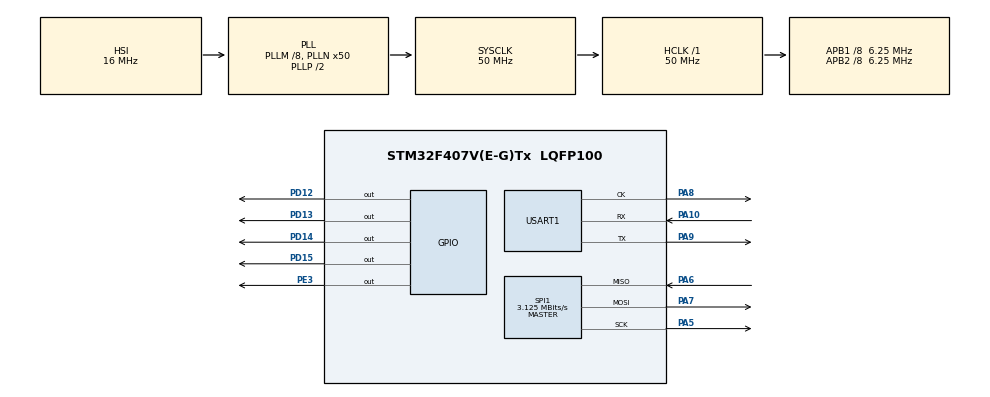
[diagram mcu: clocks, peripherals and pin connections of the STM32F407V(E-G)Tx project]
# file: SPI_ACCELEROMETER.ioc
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Mcu.Family=STM32F4
Mcu.Name=STM32F407V(E-G)Tx
Mcu.Package=LQFP100
NVIC.PriorityGroup=NVIC_PRIORITYGROUP_0
NVIC.SPI1_IRQn=true\:0\:0\:false\:false\:true\:true\:true\:true
PA10.Mode=Synchronous
PA10.Signal=USART1_RX
PA5.Mode=Full_Duplex_Master
PA5.Signal=SPI1_SCK
PA6.Mode=Full_Duplex_Master
PA6.Signal=SPI1_MISO
PA7.Mode=Full_Duplex_Master
PA7.Signal=SPI1_MOSI
PA8.Mode=Synchronous
PA8.Signal=USART1_CK
PA9.Mode=Synchronous
PA9.Signal=USART1_TX
PD12.Signal=GPIO_Output
PD13.Signal=GPIO_Output
PD14.Signal=GPIO_Output
PD15.Signal=GPIO_Output
PE3.Signal=GPIO_Output
ProjectManager.HeapSize=0x200
ProjectManager.StackSize=0x400
ProjectManager.TargetToolchain=STM32CubeIDE
RCC.48MHZClocksFreq_Value=14285714.285714285
RCC.AHBFreq_Value=50000000
RCC.APB1CLKDivider=RCC_HCLK_DIV8
RCC.APB1Freq_Value=6250000
RCC.APB1TimFreq_Value=12500000
RCC.APB2CLKDivider=RCC_HCLK_DIV8
RCC.APB2Freq_Value=6250000
RCC.APB2TimFreq_Value=12500000
RCC.CortexFreq_Value=50000000
RCC.HCLKFreq_Value=50000000
RCC.HSE_VALUE=8000000
RCC.HSI_VALUE=16000000
RCC.LSE_VALUE=32768
RCC.PLLM=8
RCC.PLLN=50
RCC.PLLQ=7
RCC.SYSCLKFreq_VALUE=50000000
RCC.SYSCLKSource=RCC_SYSCLKSOURCE_PLLCLK
RCC.VCOOutputFreq_Value=100000000
SPI1.BaudRatePrescaler=SPI_BAUDRATEPRESCALER_2
SPI1.CalculateBaudRate=3.125 MBits/s
SPI1.Direction=SPI_DIRECTION_2LINES
SPI1.Mode=SPI_MODE_MASTER
SPI1.VirtualType=VM_MASTER
USART1.CLKPhase=USART_PHASE_1EDGE
USART1.VirtualMode=VM_SYNC
board=STM32F407G-DISC1

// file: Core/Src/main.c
/* USER CODE BEGIN Header */
/**
  ******************************************************************************
  * @file           : main.c
  * @brief          : Main program body
  ******************************************************************************
  * @attention
  *
  * Copyright (c) 2025 STMicroelectronics.
  * All rights reserved.
  *
  * This software is licensed under terms that can be found in the LICENSE file
  * in the root directory of this software component.
  * If no LICENSE file comes with this software, it is provided AS-IS.
  *
  ******************************************************************************
  */
/* USER CODE END Header */
#include "main.h"

SPI_HandleTypeDef hspi1;

USART_HandleTypeDef husart1;

void SystemClock_Config(void);
static void MX_GPIO_Init(void);
static void MX_SPI1_Init(void);
static void MX_USART1_Init(void);

/* USER CODE BEGIN 0 */
uint8_t spiTxData[2];

uint8_t spiRxData[6];
int16_t accel_x;
int16_t accel_y;
int16_t accel_z;
float accelx;
float accely;
float accelz;
/* USER CODE END 0 */

int main(void)
{

  /* MCU Configuration--------------------------------------------------------*/

  /* Reset of all peripherals, Initializes the Flash interface and the Systick. */
  HAL_Init();

  /* Configure the system clock */
  SystemClock_Config();

  /* Initialize all configured peripherals */
  MX_GPIO_Init();
  MX_SPI1_Init();
  MX_USART1_Init();
  /* USER CODE BEGIN 2 */
  HAL_GPIO_WritePin (GPIOE, GPIO_PIN_3, GPIO_PIN_RESET);
  spiTxData[0]=0x20;//control register adress and write bit
  spiTxData[1]=0x77;//config data
  HAL_SPI_Transmit(&hspi1, spiTxData,2,100);//send config data
  HAL_GPIO_WritePin (GPIOE, GPIO_PIN_3, GPIO_PIN_SET);
  spiTxData[0]=0xA8;//adress of reg to read from
  //spiTxData[0]=0;
  /* USER CODE END 2 */

  /* Infinite loop */
  while (1)
  {

    /* USER CODE BEGIN 3 */
	  HAL_GPIO_WritePin (GPIOE, GPIO_PIN_3, GPIO_PIN_RESET);
	  HAL_SPI_Transmit(&hspi1,spiTxData, 1,  100);
	  HAL_SPI_Receive(&hspi1,spiRxData,6, 100);
	  HAL_GPIO_WritePin (GPIOE, GPIO_PIN_3, GPIO_PIN_SET);
	  accel_x=(int16_t)(spiRxData[0]<<8|spiRxData[1]);
	  accel_y=(int16_t)(spiRxData[2]<<8|spiRxData[3]);
	  accel_z=(int16_t)(spiRxData[4]<<8|spiRxData[5]);
	  accelx=(float)(accel_x/16384.0);
	  accely=(float)(accel_y/16384.0);
	  accelz=(float)(accel_z/16384.0);
      if(accelx>=0){
    	 HAL_GPIO_WritePin(GPIOD,GPIO_PIN_14,1);
    	 HAL_GPIO_WritePin(GPIOD,GPIO_PIN_12,0);
      }
      else{
     	 HAL_GPIO_WritePin(GPIOD,GPIO_PIN_14,0);
     	 HAL_GPIO_WritePin(GPIOD,GPIO_PIN_12,1);
      }

      if(accely>=0){
     	 HAL_GPIO_WritePin(GPIOD,GPIO_PIN_13,1);
     	 HAL_GPIO_WritePin(GPIOD,GPIO_PIN_15,0);
       }
       else{
      	 HAL_GPIO_WritePin(GPIOD,GPIO_PIN_13,0);
      	 HAL_GPIO_WritePin(GPIOD,GPIO_PIN_15,1);
       }
      HAL_Delay(500);
  }
  /* USER CODE END 3 */
}

void SystemClock_Config(void)
{
  RCC_OscInitTypeDef RCC_OscInitStruct = {0};
  RCC_ClkInitTypeDef RCC_ClkInitStruct = {0};

  /** Configure the main internal regulator output voltage
  */
  __HAL_RCC_PWR_CLK_ENABLE();
  __HAL_PWR_VOLTAGESCALING_CONFIG(PWR_REGULATOR_VOLTAGE_SCALE1);

  /** Initializes the RCC Oscillators according to the specified parameters
  * in the RCC_OscInitTypeDef structure.
  */
  RCC_OscInitStruct.OscillatorType = RCC_OSCILLATORTYPE_HSI;
  RCC_OscInitStruct.HSIState = RCC_HSI_ON;
  RCC_OscInitStruct.HSICalibrationValue = RCC_HSICALIBRATION_DEFAULT;
  RCC_OscInitStruct.PLL.PLLState = RCC_PLL_ON;
  RCC_OscInitStruct.PLL.PLLSource = RCC_PLLSOURCE_HSI;
  RCC_OscInitStruct.PLL.PLLM = 8;
  RCC_OscInitStruct.PLL.PLLN = 50;
  RCC_OscInitStruct.PLL.PLLP = RCC_PLLP_DIV2;
  RCC_OscInitStruct.PLL.PLLQ = 7;
  if (HAL_RCC_OscConfig(&RCC_OscInitStruct) != HAL_OK)
  {
    Error_Handler();
  }

  /** Initializes the CPU, AHB and APB buses clocks
  */
  RCC_ClkInitStruct.ClockType = RCC_CLOCKTYPE_HCLK|RCC_CLOCKTYPE_SYSCLK
                              |RCC_CLOCKTYPE_PCLK1|RCC_CLOCKTYPE_PCLK2;
  RCC_ClkInitStruct.SYSCLKSource = RCC_SYSCLKSOURCE_PLLCLK;
  RCC_ClkInitStruct.AHBCLKDivider = RCC_SYSCLK_DIV1;
  RCC_ClkInitStruct.APB1CLKDivider = RCC_HCLK_DIV8;
  RCC_ClkInitStruct.APB2CLKDivider = RCC_HCLK_DIV8;

  if (HAL_RCC_ClockConfig(&RCC_ClkInitStruct, FLASH_LATENCY_1) != HAL_OK)
  {
    Error_Handler();
  }
}

static void MX_SPI1_Init(void)
{

  /* SPI1 parameter configuration*/
  hspi1.Instance = SPI1;
  hspi1.Init.Mode = SPI_MODE_MASTER;
  hspi1.Init.Direction = SPI_DIRECTION_2LINES;
  hspi1.Init.DataSize = SPI_DATASIZE_8BIT;
  hspi1.Init.CLKPolarity = SPI_POLARITY_LOW;
  hspi1.Init.CLKPhase = SPI_PHASE_1EDGE;
  hspi1.Init.NSS = SPI_NSS_SOFT;
  hspi1.Init.BaudRatePrescaler = SPI_BAUDRATEPRESCALER_2;
  hspi1.Init.FirstBit = SPI_FIRSTBIT_MSB;
  hspi1.Init.TIMode = SPI_TIMODE_DISABLE;
  hspi1.Init.CRCCalculation = SPI_CRCCALCULATION_DISABLE;
  hspi1.Init.CRCPolynomial = 10;
  if (HAL_SPI_Init(&hspi1) != HAL_OK)
  {
    Error_Handler();
  }

}

static void MX_USART1_Init(void)
{

  husart1.Instance = USART1;
  husart1.Init.BaudRate = 115200;
  husart1.Init.WordLength = USART_WORDLENGTH_8B;
  husart1.Init.StopBits = USART_STOPBITS_1;
  husart1.Init.Parity = USART_PARITY_NONE;
  husart1.Init.Mode = USART_MODE_TX_RX;
  husart1.Init.CLKPolarity = USART_POLARITY_LOW;
  husart1.Init.CLKPhase = USART_PHASE_1EDGE;
  husart1.Init.CLKLastBit = USART_LASTBIT_DISABLE;
  if (HAL_USART_Init(&husart1) != HAL_OK)
  {
    Error_Handler();
  }

}

static void MX_GPIO_Init(void)
{
  GPIO_InitTypeDef GPIO_InitStruct = {0};

  /* GPIO Ports Clock Enable */
  __HAL_RCC_GPIOE_CLK_ENABLE();
  __HAL_RCC_GPIOA_CLK_ENABLE();
  __HAL_RCC_GPIOD_CLK_ENABLE();

  /*Configure GPIO pin Output Level */
  HAL_GPIO_WritePin(GPIOE, GPIO_PIN_3, GPIO_PIN_RESET);

  /*Configure GPIO pin Output Level */
  HAL_GPIO_WritePin(GPIOD, GPIO_PIN_12|GPIO_PIN_13|GPIO_PIN_14|GPIO_PIN_15, GPIO_PIN_RESET);

  /*Configure GPIO pin : PE3 */
  GPIO_InitStruct.Pin = GPIO_PIN_3;
  GPIO_InitStruct.Mode = GPIO_MODE_OUTPUT_PP;
  GPIO_InitStruct.Pull = GPIO_NOPULL;
  GPIO_InitStruct.Speed = GPIO_SPEED_FREQ_LOW;
  HAL_GPIO_Init(GPIOE, &GPIO_InitStruct);

  /*Configure GPIO pins : PD12 PD13 PD14 PD15 */
  GPIO_InitStruct.Pin = GPIO_PIN_12|GPIO_PIN_13|GPIO_PIN_14|GPIO_PIN_15;
  GPIO_InitStruct.Mode = GPIO_MODE_OUTPUT_PP;
  GPIO_InitStruct.Pull = GPIO_NOPULL;
  GPIO_InitStruct.Speed = GPIO_SPEED_FREQ_LOW;
  HAL_GPIO_Init(GPIOD, &GPIO_InitStruct);

}

void Error_Handler(void)
{
  __disable_irq();
  while (1)
  {
  }
}
